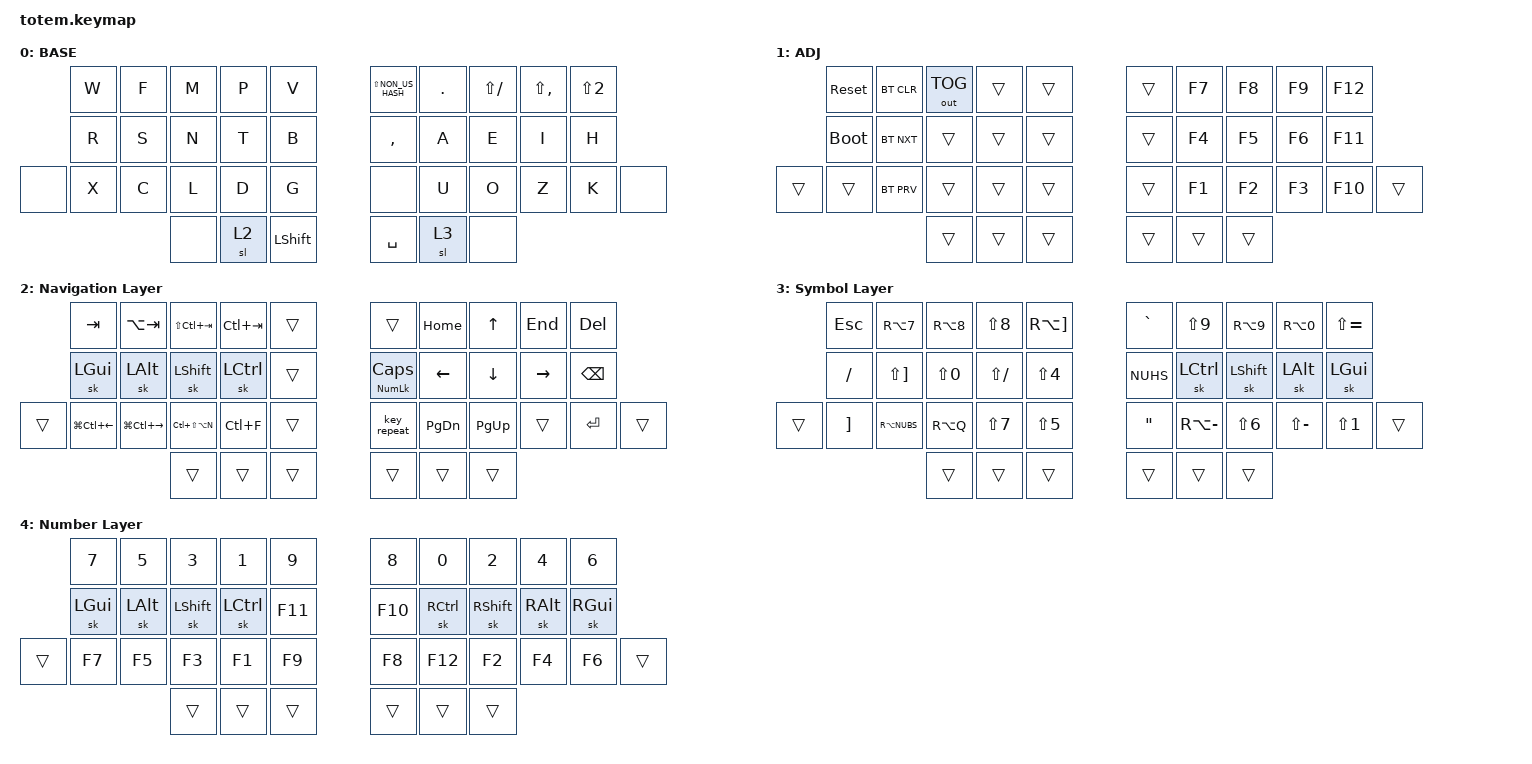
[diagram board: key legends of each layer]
//
//                                                        ▀▀▀▀▀     ▀▀▀▀▀          ▀▀█▀▀
//                                                        ▄▀▀▀▄  ▄  ▄▀▀▀▄  ▄  ▄▀▀▀▄  █  ▄▀▀▀▄
//                                                        █   █  █  █   █  █  █   █  █  █   █
//                                                         ▀▀▀   █   ▀▀▀   █   ▀▀▀   ▀   ▀▀▀
//                                                               █      ▄▄▄█▄▄▄    █   █  
//                                                               ▀      █  █  █     █▄█
//                                                             ▀▀▀▀▀    █  █  █      ▀
//                                                                      ▀  ▀  ▀
//
// ▄▄▄▄▄▄▄▄▄▄▄▄▄▄▄▄▄▄▄▄▄▄▄▄▄▄▄▄▄▄▄▄▄▄▄▄▄▄▄▄▄▄▄▄▄▄▄▄▄▄▄▄▄▄▄▄▄▄▄▄▄▄▄▄▄▄▄▄▄▄▄▄▄▄▄▄▄▄▄▄▄▄▄▄▄▄▄▄▄▄▄▄▄▄▄▄▄▄▄▄▄▄▄▄▄▄▄▄▄▄▄▄▄▄▄▄▄▄▄▄▄▄▄▄▄▄▄▄▄▄▄▄▄▄▄▄▄▄▄▄▄▄▄▄▄▄▄▄▄

#include <behaviors.dtsi>
#include <dt-bindings/zmk/bt.h>
#include <dt-bindings/zmk/keys.h>
#include <dt-bindings/zmk/outputs.h>

#define BASE 0
#define NAV  1
#define SYM  2
#define ADJ  3

&mt {
    quick-tap-ms = <100>;
    global-quick-tap;
    flavor = "tap-preferred";
    tapping-term-ms = <170>;
};

/ {
    combos {
        compatible = "zmk,combos";

        combo_overview {
            bindings = <&kp LG(TAB)>;
            key-positions = <1 2>;
            layers = <0>;
        };

        combo_q {
            bindings = <&kp Q>;
            key-positions = <27 29>;
            layers = <0>;
        };

        combo_j {
            bindings = <&kp J>;
            key-positions = <21 24>;
            layers = <0>;
        };

        combo_ae {
            bindings = <&kp SINGLE_QUOTE>;
            key-positions = <16 28>;
            layers = <0>;
        };

        combo_oe {
            bindings = <&kp SEMICOLON>;
            key-positions = <17 28>;
            layers = <0>;
        };

        combo_ue {
            bindings = <&kp LEFT_BRACKET>;
            key-positions = <27 30>;
            layers = <0>;
        };

        combo_sz {
            bindings = <&kp MINUS>;
            key-positions = <11 10>;
            layers = <0>;
        };

        combo_activate_num_layer {
            bindings = <&sl 4>;
            key-positions = <33 36>;
        };

        less-than {
            bindings = <&kp NON_US_BACKSLASH>;
            key-positions = <2 12>;
            layers = <3>;
        };

        greater-than {
            bindings = <&kp LS(NON_US_BACKSLASH)>;
            key-positions = <7 17>;
            layers = <3>;
        };

        sch {
            bindings = <&sch>;
            key-positions = <11 22>;
            layers = <0>;
        };

        letter_z {
            bindings = <&kp Y>;
            key-positions = <22 24>;
            layers = <0>;
        };
    };

    macros {
        sch: sch {
            compatible = "zmk,behavior-macro";
            #binding-cells = <0>;
            bindings = <&kp S &kp C &kp H>;
            label = "SCH";
        };
    };

    keymap {
        compatible = "zmk,keymap";

        // ▄▄▄▄▄▄▄▄▄▄▄▄▄▄▄▄▄▄▄▄▄▄▄▄▄▄▄▄▄▄▄▄▄▄▄▄▄▄▄▄▄▄▄▄▄▄▄▄▄▄▄▄▄▄▄▄▄▄▄▄▄▄▄▄▄▄▄▄▄▄▄▄▄▄▄▄▄▄▄▄▄▄▄▄▄▄▄▄▄▄▄▄▄▄▄▄▄▄▄▄▄▄▄▄▄▄▄▄▄▄▄▄▄▄▄▄▄▄▄▄▄▄▄▄▄▄▄▄▄▄▄▄▄▄▄▄▄▄▄▄▄▄▄▄▄▄▄▄▄

        base_layer {
            // ┏━━━━━━━━━━━━━━━━━━━━━━━━━━━━━━━━━━━━━━━┓

            label = "BASE";

            // ┗━━━━━━━━━━━━━━━━━━━━━━━━━━━━━━━━━━━━━━━┛
            //             ┏━━━━━━━━━━━┳━━━━━━━━━━━┳━━━━━━━━━━━┳━━━━━━━━━━━┳━━━━━━━━━━━┓   ┏━━━━━━━━━━━┳━━━━━━━━━━━┳━━━━━━━━━━━┳━━━━━━━━━━━┳━━━━━━━━━━━┓
            //             ┃     Q     ┃     W     ┃     E     ┃     R     ┃     T     ┃   ┃     Y     ┃     U     ┃     I     ┃     O     ┃     P     ┃
            //             ┣━━━━━━━━━━━╋━━━━━━━━━━━╋━━━━━━━━━━━╋━━━━━━━━━━━╋━━━━━━━━━━━┫   ┣━━━━━━━━━━━╋━━━━━━━━━━━╋━━━━━━━━━━━╋━━━━━━━━━━━╋━━━━━━━━━━━┫
            //             ┃     A     ┃     S     ┃     D     ┃     F     ┃     G     ┃   ┃     H     ┃     J     ┃     K     ┃     L     ┃     ;     ┃
            // ┏━━━━━━━━━━━╋━━━━━━━━━━━╋━━━━━━━━━━━╋━━━━━━━━━━━╋━━━━━━━━━━━╋━━━━━━━━━━━┫   ┣━━━━━━━━━━━╋━━━━━━━━━━━╋━━━━━━━━━━━╋━━━━━━━━━━━╋━━━━━━━━━━━╋━━━━━━━━━━━┓
            // ┃     Q     ┃     Z     ┃     X     ┃     C     ┃     V     ┃     B     ┃   ┃     N     ┃     M     ┃     ,     ┃     .     ┃     /     ┃     \     ┃
            // ┗━━━━━━━━━━━┻━━━━━━━━━━━┻━━━━━━━━━━━╋━━━━━━━━━━━╋━━━━━━━━━━━╋━━━━━━━━━━━┫   ┣━━━━━━━━━━━╋━━━━━━━━━━━╋━━━━━━━━━━━╋━━━━━━━━━━━┻━━━━━━━━━━━┻━━━━━━━━━━━┛
            //                                     ┃    DEL    ┃    TAB    ┃    SPC    ┃   ┃   ENTER   ┃           ┃   BSPC    ┃
            //                                     ┗━━━━━━━━━━━┻━━━━━━━━━━━┻━━━━━━━━━━━┛   ┗━━━━━━━━━━━┻━━━━━━━━━━━┻━━━━━━━━━━━┛

            bindings = <
       &kp W  &kp F  &kp M  &kp P  &kp V             &kp LS(NON_US_HASH)  &kp DOT  &kp LS(SLASH)  &kp LS(COMMA)  &kp LS(NUMBER_2)
       &kp R  &kp S  &kp N  &kp T  &kp B             &kp COMMA            &kp A    &kp E          &kp I          &kp H
&none  &kp X  &kp C  &kp L  &kp D  &kp G             &none                &kp U    &kp O          &kp Z          &kp K             &none
                     &none  &sl 2  &kp LEFT_SHIFT    &kp SPACE            &sl 3    &none
            >;
        };

        // ▄▄▄▄▄▄▄▄▄▄▄▄▄▄▄▄▄▄▄▄▄▄▄▄▄▄▄▄▄▄▄▄▄▄▄▄▄▄▄▄▄▄▄▄▄▄▄▄▄▄▄▄▄▄▄▄▄▄▄▄▄▄▄▄▄▄▄▄▄▄▄▄▄▄▄▄▄▄▄▄▄▄▄▄▄▄▄▄▄▄▄▄▄▄▄▄▄▄▄▄▄▄▄▄▄▄▄▄▄▄▄▄▄▄▄▄▄▄▄▄▄▄▄▄▄▄▄▄▄▄▄▄▄▄▄▄▄▄▄▄▄▄▄▄▄▄▄▄▄
        // ▄▄▄▄▄▄▄▄▄▄▄▄▄▄▄▄▄▄▄▄▄▄▄▄▄▄▄▄▄▄▄▄▄▄▄▄▄▄▄▄▄▄▄▄▄▄▄▄▄▄▄▄▄▄▄▄▄▄▄▄▄▄▄▄▄▄▄▄▄▄▄▄▄▄▄▄▄▄▄▄▄▄▄▄▄▄▄▄▄▄▄▄▄▄▄▄▄▄▄▄▄▄▄▄▄▄▄▄▄▄▄▄▄▄▄▄▄▄▄▄▄▄▄▄▄▄▄▄▄▄▄▄▄▄▄▄▄▄▄▄▄▄▄▄▄▄▄▄▄
        // ▄▄▄▄▄▄▄▄▄▄▄▄▄▄▄▄▄▄▄▄▄▄▄▄▄▄▄▄▄▄▄▄▄▄▄▄▄▄▄▄▄▄▄▄▄▄▄▄▄▄▄▄▄▄▄▄▄▄▄▄▄▄▄▄▄▄▄▄▄▄▄▄▄▄▄▄▄▄▄▄▄▄▄▄▄▄▄▄▄▄▄▄▄▄▄▄▄▄▄▄▄▄▄▄▄▄▄▄▄▄▄▄▄▄▄▄▄▄▄▄▄▄▄▄▄▄▄▄▄▄▄▄▄▄▄▄▄▄▄▄▄▄▄▄▄▄▄▄▄

        adjust_layer {
            // ┏━━━━━━━━━━━━━━━━━━━━━━━━━━━━━━━━━━━━━━━┓

            label = "ADJ";

            // ┗━━━━━━━━━━━━━━━━━━━━━━━━━━━━━━━━━━━━━━━┛
            //             ┏━━━━━━━━━━━┳━━━━━━━━━━━┳━━━━━━━━━━━┳━━━━━━━━━━━┳━━━━━━━━━━━┓   ┏━━━━━━━━━━━┳━━━━━━━━━━━┳━━━━━━━━━━━┳━━━━━━━━━━━┳━━━━━━━━━━━┓
            //             ┃   RESET   ┃ BT CLEAR  ┃  OUT TOG  ┃           ┃           ┃   ┃           ┃    F7     ┃    F8     ┃    F9     ┃    F12    ┃
            //             ┣━━━━━━━━━━━╋━━━━━━━━━━━╋━━━━━━━━━━━╋━━━━━━━━━━━╋━━━━━━━━━━━┫   ┣━━━━━━━━━━━╋━━━━━━━━━━━╋━━━━━━━━━━━╋━━━━━━━━━━━╋━━━━━━━━━━━┫
            //             ┃ BOOTLOAD  ┃ BT NEXT   ┃           ┃           ┃           ┃   ┃           ┃    F4     ┃    F5     ┃    F6     ┃    F11    ┃
            // ┏━━━━━━━━━━━╋━━━━━━━━━━━╋━━━━━━━━━━━╋━━━━━━━━━━━╋━━━━━━━━━━━╋━━━━━━━━━━━┫   ┣━━━━━━━━━━━╋━━━━━━━━━━━╋━━━━━━━━━━━╋━━━━━━━━━━━╋━━━━━━━━━━━╋━━━━━━━━━━━┓
            // ┃           ┃           ┃ BT PREV   ┃           ┃           ┃           ┃   ┃           ┃    F1     ┃    F2     ┃    F3     ┃    F10    ┃           ┃
            // ┗━━━━━━━━━━━┻━━━━━━━━━━━┻━━━━━━━━━━━╋━━━━━━━━━━━╋━━━━━━━━━━━╋━━━━━━━━━━━┫   ┣━━━━━━━━━━━╋━━━━━━━━━━━╋━━━━━━━━━━━╋━━━━━━━━━━━┻━━━━━━━━━━━┻━━━━━━━━━━━┛
            //                                     ┃           ┃           ┃           ┃   ┃           ┃           ┃           ┃
            //                                     ┗━━━━━━━━━━━┻━━━━━━━━━━━┻━━━━━━━━━━━┛   ┗━━━━━━━━━━━┻━━━━━━━━━━━┻━━━━━━━━━━━┛

            bindings = <
        &sys_reset   &bt BT_CLR  &out OUT_TOG  &trans  &trans    &trans  &kp F7  &kp F8  &kp F9  &kp F12
        &bootloader  &bt BT_NXT  &trans        &trans  &trans    &trans  &kp F4  &kp F5  &kp F6  &kp F11
&trans  &trans       &bt BT_PRV  &trans        &trans  &trans    &trans  &kp F1  &kp F2  &kp F3  &kp F10  &trans
                                 &trans        &trans  &trans    &trans  &trans  &trans
            >;
        };

        Nav {
            bindings = <
        &kp TAB                 &kp LA(TAB)              &kp LS(LC(TAB))    &kp LC(TAB)       &trans    &trans                   &kp HOME        &kp UP_ARROW    &kp END          &kp DELETE
        &sk LGUI                &sk LEFT_ALT             &sk LEFT_SHIFT     &sk LEFT_CONTROL  &trans    &mt KP_NUMLOCK CAPSLOCK  &kp LEFT_ARROW  &kp DOWN_ARROW  &kp RIGHT_ARROW  &kp BACKSPACE
&trans  &kp LG(LC(LEFT_ARROW))  &kp LG(LC(RIGHT_ARROW))  &kp LC(LS(LA(N)))  &kp LC(F)         &trans    &key_repeat              &kp PAGE_DOWN   &kp PAGE_UP     &trans           &kp ENTER      &trans
                                                         &trans             &trans            &trans    &trans                   &trans          &trans
            >;

            label = "Navigation Layer";
        };

        sym {
            bindings = <
        &kp ESC            &kp RA(N7)             &kp RA(N8)        &kp LS(N8)        &kp RA(RIGHT_BRACKET)    &kp GRAVE          &kp LS(NUMBER_9)  &kp RA(NUMBER_9)  &kp RA(NUMBER_0)  &kp LS(EQUAL)
        &kp SLASH          &kp LS(RIGHT_BRACKET)  &kp LS(NUMBER_0)  &kp LS(SLASH)     &kp LS(N4)               &kp NUHS           &sk LCTRL         &sk LEFT_SHIFT    &sk LEFT_ALT      &sk LEFT_GUI
&trans  &kp RIGHT_BRACKET  &kp RA(NUBS)           &kp RA(Q)         &kp LS(NUMBER_7)  &kp LS(N5)               &kp DOUBLE_QUOTES  &kp RA(MINUS)     &kp LS(NUMBER_6)  &kp LS(MINUS)     &kp LS(N1)     &trans
                                                  &trans            &trans            &trans                   &trans             &trans            &trans
            >;

            label = "Symbol Layer";
        };

        num {
            bindings = <
        &kp N7        &kp N5        &kp N3          &kp N1     &kp N9     &kp N8   &kp N0     &kp N2           &kp N4         &kp N6
        &sk LEFT_GUI  &sk LEFT_ALT  &sk LEFT_SHIFT  &sk LCTRL  &kp F11    &kp F10  &sk RCTRL  &sk RIGHT_SHIFT  &sk RIGHT_ALT  &sk RIGHT_GUI
&trans  &kp F7        &kp F5        &kp F3          &kp F1     &kp F9     &kp F8   &kp F12    &kp F2           &kp F4         &kp F6         &trans
                                    &trans          &trans     &trans     &trans   &trans     &trans
            >;

            label = "Number Layer";
        };
    };
};
